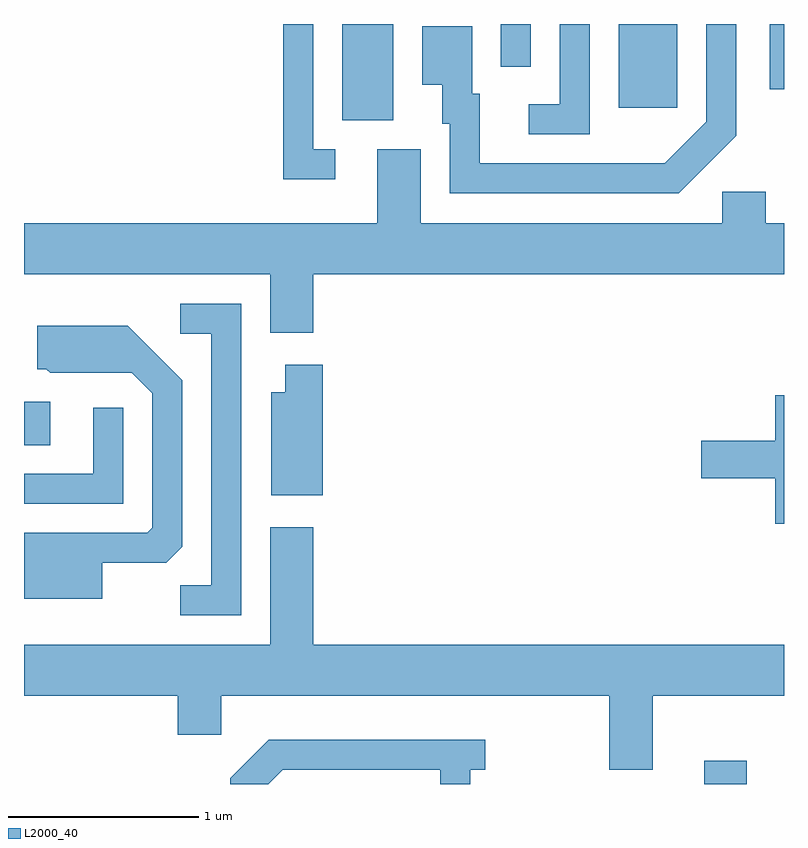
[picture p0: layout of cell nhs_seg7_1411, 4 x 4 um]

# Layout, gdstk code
import gdstk
lib = gdstk.Library(unit=1e-6, precision=1e-09)
def R(c, l, rs):  # rectangles x0, y0, x1, y1
    for r in rs: c.add(gdstk.rectangle(r[:2], r[2:], *l))
def P(c, l, *ps):  # polygons
    for p in ps: c.add(gdstk.Polygon(p, *l))
L2000_40 = (2000, 40)

nhs_seg7_1411 = lib.new_cell('nhs_seg7_1411')
R(nhs_seg7_1411, L2000_40, [(231.191,1758.252,231.414,1758.374), (227.611,1760.036,227.749,1760.264), (229.286,1761.746,229.554,1762.252), (230.741,1761.811,231.049,1762.252), (231.536,1761.908,231.611,1762.252), (230.121,1762.028,230.279,1762.252)])
P(nhs_seg7_1411, L2000_40, [(229.248,1761.594),(229.134,1761.594),(229.134,1762.252),(228.976,1762.252),(228.976,1761.436),(229.248,1761.436)],
  [(231.359,1761.664),(231.359,1762.252),(231.201,1762.252),(231.201,1761.737),(230.984,1761.519),(230.009,1761.519),(230.009,1761.884),(229.969,1761.884),(229.969,1762.239),(229.706,1762.239),(229.706,1761.931),(229.811,1761.931),(229.811,1761.726),(229.851,1761.726),(229.851,1761.361),(231.057,1761.361)],
  [(230.589,1762.252),(230.431,1762.252),(230.431,1761.829),(230.268,1761.829),(230.268,1761.671),(230.589,1761.671)],
  [(229.134,1760.936),(231.611,1760.936),(231.611,1761.204),(231.514,1761.204),(231.514,1761.369),(231.286,1761.369),(231.286,1761.204),(229.699,1761.204),(229.699,1761.594),(229.471,1761.594),(229.471,1761.204),(227.611,1761.204),(227.611,1760.936),(228.906,1760.936),(228.906,1760.626),(229.134,1760.626)],
  [(228.754,1760.779),(228.433,1760.779),(228.433,1760.621),(228.596,1760.621),(228.596,1759.299),(228.433,1759.299),(228.433,1759.141),(228.754,1759.141)],
  [(228.024,1759.416),(228.359,1759.416),(228.444,1759.502),(228.444,1760.377),(228.157,1760.664),(227.681,1760.664),(227.681,1760.436),(227.729,1760.436),(227.749,1760.416),(228.179,1760.416),(228.286,1760.309),(228.286,1759.602),(228.259,1759.574),(227.611,1759.574),(227.611,1759.226),(228.024,1759.226)],
  [(229.184,1760.459),(228.986,1760.459),(228.986,1760.314),(228.911,1760.314),(228.911,1759.771),(229.184,1759.771)],
  [(231.611,1760.299),(231.566,1760.299),(231.566,1760.059),(231.176,1760.059),(231.176,1759.861),(231.566,1759.861),(231.566,1759.621),(231.611,1759.621)],
  [(228.134,1760.233),(227.976,1760.233),(227.976,1759.884),(227.611,1759.884),(227.611,1759.726),(228.134,1759.726)],
  [(230.919,1758.716),(231.611,1758.716),(231.611,1758.984),(229.134,1758.984),(229.134,1759.604),(228.906,1759.604),(228.906,1758.984),(227.611,1758.984),(227.611,1758.716),(228.421,1758.716),(228.421,1758.511),(228.649,1758.511),(228.649,1758.716),(230.691,1758.716),(230.691,1758.326),(230.919,1758.326)],
  [(228.972,1758.326),(229.801,1758.326),(229.801,1758.252),(229.959,1758.252),(229.959,1758.326),(230.038,1758.326),(230.038,1758.484),(228.899,1758.484),(228.696,1758.282),(228.696,1758.252),(228.897,1758.252)])

lib.write_gds('nhs_seg7_1411.gds')
